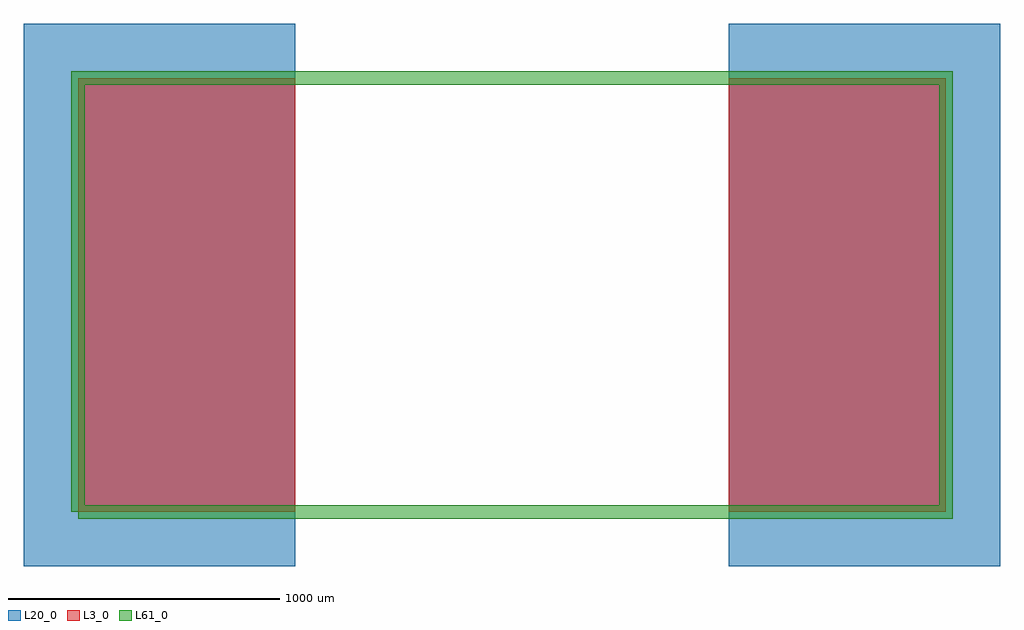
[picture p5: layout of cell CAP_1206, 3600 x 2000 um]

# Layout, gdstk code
import gdstk
lib = gdstk.Library(unit=1e-6, precision=1e-09)
def R(c, l, rs):  # rectangles x0, y0, x1, y1
    for r in rs: c.add(gdstk.rectangle(r[:2], r[2:], *l))
L3_0 = (3, 0)
L20_0 = (20, 0)
L61_0 = (61, 0)

cap_1206 = lib.new_cell('CAP_1206')
R(cap_1206, L3_0, [(0,0,800,1600), (2400,0,3200,1600)])
R(cap_1206, L20_0, [(-200,-200,800,1800), (2400,-200,3400,1800)])
cap_1206.add(gdstk.FlexPath([(0,0),(3200,0),(3200,1600),(0,1600),(0,0)], 50, ends="flush", simple_path=True, layer=61, datatype=0))  # L61_0

lib.write_gds('CAP_1206.gds')
